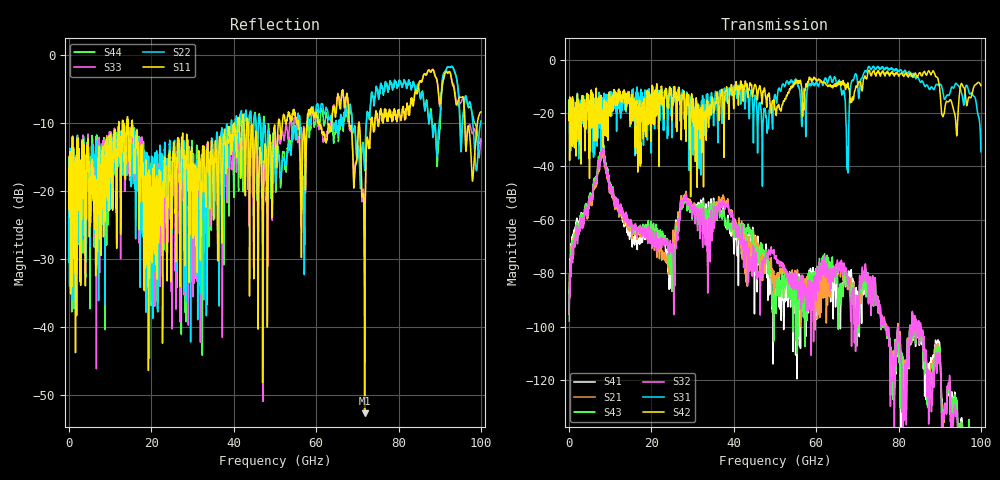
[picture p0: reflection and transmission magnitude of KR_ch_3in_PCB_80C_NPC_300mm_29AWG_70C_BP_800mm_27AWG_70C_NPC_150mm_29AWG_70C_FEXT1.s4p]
# Hz S RI R 45
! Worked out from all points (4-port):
!   4000 points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, 25 MHz to 100 GHz, reference 45 ohm
!   strongest paths, dB at 25 MHz, 25.02 GHz, 50.02 GHz, 75.03 GHz, 100 GHz:
!     S42: -20.7, -20.7, -18.8, -4.2, -9.7
!     S31: -20.6, -29.3, -13.2, -2.6, -34.5
!     S32: -95.1, -71.3, -73.5, -92.5, -155.0
!     S43: -97.9, -82.3, -91.3, -92.6, -149.7
!     S21: -89.0, -70.1, -81.6, -92.4, -155.8
!     S41: -95.3, -75.1, -89.5, -92.6, -151.8
!   lowest |S11| = -52.7 dB at 71.78 GHz (marker M1), VSWR 1.00, Z = 45.1 + j0.186 ohm
!   |S11| at or under -10 dB: start of sweep to 12.07 GHz; 15.36 GHz to 40.1 GHz (24.74 GHz wide, 89.2 % of centre); 43.48 GHz to 50.82 GHz (7.338 GHz wide, 15.6 % of centre)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
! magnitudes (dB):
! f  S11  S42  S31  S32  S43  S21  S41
! 25 MHz  -16.5  -20.7  -20.6  -95.1  -97.9  -89.0  -95.3
! 8.075 GHz  -22.3  -20.2  -27.3  -33.4  -31.8  -34.9  -33.3
! 24.5 GHz  -15.7  -11.3  -10.9  -69.3  -72.0  -75.4  -80.7
! 28.05 GHz  -21.1  -15.9  -19.5  -53.0  -54.0  -52.1  -53.0
! 67.58 GHz  -6.1  -9.5  -41.3  -82.5  -83.6  -85.5  -82.6
! 71.78 GHz  -52.7  -6.2  -4.4  -79.1  -81.7  -79.8  -82.4
! 100 GHz  -8.4  -9.7  -34.5  -155.0  -149.7  -155.8  -151.8
